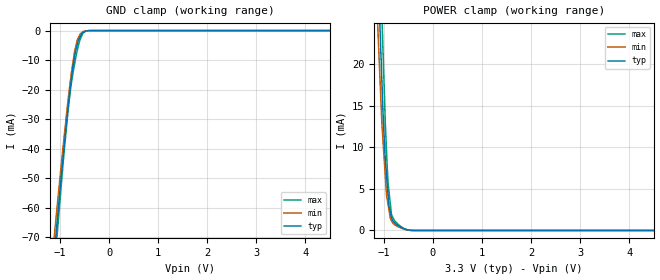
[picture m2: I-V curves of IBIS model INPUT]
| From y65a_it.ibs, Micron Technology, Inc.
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|   MODEL INPUT
[Model]   INPUT
Model_type   Input
Vinl = 800.000mV
Vinh = 2.000V
|   typ   min   max
C_comp   2.245pF   2.145pF   2.345pF
[Voltage Range]   3.300V   3.000V   3.600V
| Junction Temperature (Case temp is 35C typ, 85C min, -40C max)
[Temperature Range]   50.0   95.0   -40.0
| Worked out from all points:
|   GND clamp passes 1 mA (typ) near -0.55 V on its own axis
|   POWER clamp passes 1 mA (typ) near -0.80 V on its own axis
[GND Clamp]
|   Voltage   I(typ)   I(min)   I(max)
-3.3V     -516.4mA   -476.2mA   -568.2mA
-1.145V   -80.52mA   -74.21mA   -86.36mA
-1.04V    -60.98mA   -56.11mA   -65.19mA
-935mV    -42.22mA   -38.72mA   -44.36mA
-845mV    -27.17mA   -24.67mA   -28.31mA
-780mV    -17.61mA   -15.6mA    -18.93mA
-740mV    -12.27mA   -10.97mA   -14.65mA
-705mV    -8.821mA   -7.119mA   -11.34mA
-630mV    -3.42mA    -2.453mA   -5.288mA
-530mV    -612.5uA   -309uA     -767.7uA
-360mV    -8.829uA   -4.896uA   -2.402uA
6.6V      0A         0A         0A
[POWER Clamp]
|   Voltage   I(typ)   I(min)   I(max)
-3.3V     453.3mA    411.2mA    511.4mA
-1.145V   35.35mA    27.35mA    45.31mA
-1.04V    17.98mA    12.86mA    25.88mA
-1.035V   17.15mA    12.38mA    24.95mA
-1.02V    14.67mA    11.02mA    22.18mA
-975mV    9.001mA    6.944mA    13.85mA
-945mV    6.585mA    4.227mA    9.447mA
-910mV    3.935mA    2.957mA    5.485mA
-895mV    2.913mA    2.423mA    4.672mA
-840mV    1.511mA    1.106mA    1.838mA
-650mV    382.8uA    286uA      458.4uA
6.6V      0A         0A         0A
